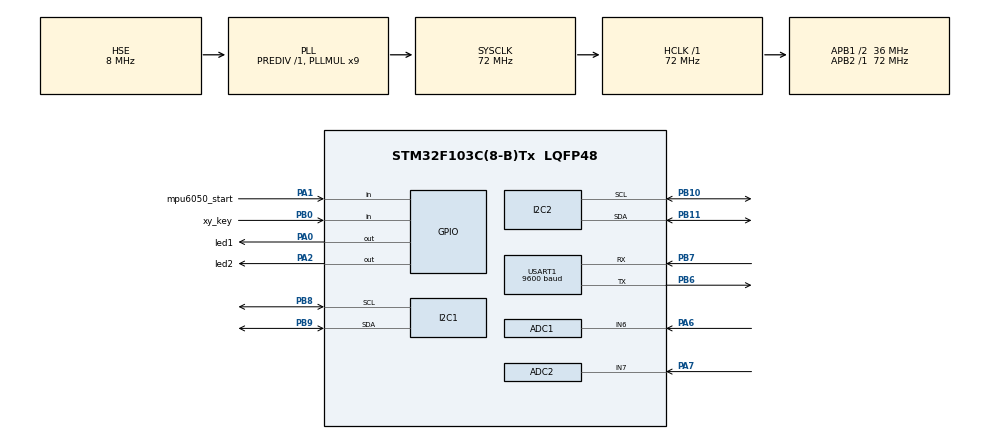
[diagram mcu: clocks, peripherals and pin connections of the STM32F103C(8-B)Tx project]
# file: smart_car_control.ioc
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ADC1.Channel-0\#ChannelRegularConversion=ADC_CHANNEL_6
ADC1.ContinuousConvMode=ENABLE
ADC1.NbrOfConversionFlag=1
ADC1.Rank-0\#ChannelRegularConversion=1
ADC1.SamplingTime-0\#ChannelRegularConversion=ADC_SAMPLETIME_1CYCLE_5
ADC1.master=1
ADC2.Channel-0\#ChannelRegularConversion=ADC_CHANNEL_7
ADC2.ContinuousConvMode=ENABLE
ADC2.NbrOfConversionFlag=1
ADC2.Rank-0\#ChannelRegularConversion=1
ADC2.SamplingTime-0\#ChannelRegularConversion=ADC_SAMPLETIME_1CYCLE_5
Mcu.Family=STM32F1
Mcu.Name=STM32F103C(8-B)Tx
Mcu.Package=LQFP48
NVIC.PriorityGroup=NVIC_PRIORITYGROUP_4
NVIC.TIM4_IRQn=true\:15\:0\:false\:false\:true\:false\:true\:true
NVIC.TimeBase=TIM4_IRQn
NVIC.TimeBaseIP=TIM4
PA0-WKUP.GPIO_Label=led1
PA0-WKUP.Signal=GPIO_Output
PA1.GPIO_Label=mpu6050_start
PA1.GPIO_PuPd=GPIO_PULLUP
PA1.Signal=GPIO_Input
PA13.Mode=Serial_Wire
PA13.Signal=SYS_JTMS-SWDIO
PA14.Mode=Serial_Wire
PA14.Signal=SYS_JTCK-SWCLK
PA2.GPIO_Label=led2
PA2.Signal=GPIO_Output
PA6.Signal=ADCx_IN6
PA7.Signal=ADCx_IN7
PB0.GPIO_Label=xy_key
PB0.GPIO_PuPd=GPIO_PULLUP
PB0.Signal=GPIO_Input
PB10.Mode=I2C
PB10.Signal=I2C2_SCL
PB11.Mode=I2C
PB11.Signal=I2C2_SDA
PB6.Mode=Asynchronous
PB6.Signal=USART1_TX
PB7.Mode=Asynchronous
PB7.Signal=USART1_RX
PB8.Mode=I2C
PB8.Signal=I2C1_SCL
PB9.Mode=I2C
PB9.Signal=I2C1_SDA
PC14-OSC32_IN.Mode=LSE-External-Oscillator
PC14-OSC32_IN.Signal=RCC_OSC32_IN
PC15-OSC32_OUT.Mode=LSE-External-Oscillator
PC15-OSC32_OUT.Signal=RCC_OSC32_OUT
PD0-OSC_IN.Mode=HSE-External-Oscillator
PD0-OSC_IN.Signal=RCC_OSC_IN
PD1-OSC_OUT.Mode=HSE-External-Oscillator
PD1-OSC_OUT.Signal=RCC_OSC_OUT
ProjectManager.HeapSize=0x200
ProjectManager.StackSize=0x400
ProjectManager.TargetToolchain=MDK-ARM V5.32
RCC.ADCPresc=RCC_ADCPCLK2_DIV6
RCC.AHBFreq_Value=72000000
RCC.APB1CLKDivider=RCC_HCLK_DIV2
RCC.APB1Freq_Value=36000000
RCC.APB1TimFreq_Value=72000000
RCC.APB2Freq_Value=72000000
RCC.APB2TimFreq_Value=72000000
RCC.HCLKFreq_Value=72000000
RCC.PLLMUL=RCC_PLL_MUL9
RCC.PLLSourceVirtual=RCC_PLLSOURCE_HSE
RCC.SYSCLKFreq_VALUE=72000000
RCC.SYSCLKSource=RCC_SYSCLKSOURCE_PLLCLK
RCC.USBFreq_Value=72000000
SH.ADCx_IN6.0=ADC1_IN6,IN6
SH.ADCx_IN7.0=ADC2_IN7,IN7
USART1.BaudRate=9600
USART1.VirtualMode=VM_ASYNC
VP_SYS_VS_tim4.Mode=TIM4
board=custom

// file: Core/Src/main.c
/* USER CODE BEGIN Header */
/**
  ******************************************************************************
  * @file           : main.c
  * @brief          : Main program body
  ******************************************************************************
  * @attention
  *
  * Copyright (c) 2025 STMicroelectronics.
  * All rights reserved.
  *
  * This software is licensed under terms that can be found in the LICENSE file
  * in the root directory of this software component.
  * If no LICENSE file comes with this software, it is provided AS-IS.
  *
  ******************************************************************************
  */
/* USER CODE END Header */
#include "main.h"
#include "adc.h"
#include "i2c.h"
#include "usart.h"
#include "gpio.h"

/* USER CODE BEGIN Includes */
#include "mpu6050.h"
#include <math.h>
#include <stdio.h>
#include "oled.h"
#include "cube.h"
/* USER CODE END Includes */

/* USER CODE BEGIN PV */
//#define M_PI 3.1415

float angle_x=0.0f;
float angle_y=0.0f;
float angle_z=0.0f;

//ADC数据采集暂存
uint16_t Xvalue_measure=0;
uint16_t Yvalue_measure=0;

MPU6050_t mpu6050_value;

//mpu6050,摇杆控制与否？
uint8_t mpu6050_state=0;
uint8_t xykey_state=1;

//mpu6050遥控角度阈值
int16_t angle_threhold=20;

//摇杆遥控角度阈值
int16_t xyposition_threhold_up=3000;//
int16_t xyposition_threhold_down=1000;

/* USER CODE END PV */

void SystemClock_Config(void);

/* USER CODE BEGIN 0 */

void process_Gyro_data(float gx, float gy, float gz) {

    float dt = 0.005f; // 采样时间，根据你的循环频率调整（例如200Hz）
    angle_x = (angle_x + gx * dt) ;
    angle_y = (angle_y - gy * dt);
    angle_z += gz * dt; // 偏航角仅积分，会漂移

}

void mpu6050_control(){
	MPU6050_Read_All(&hi2c1,&mpu6050_value);

		/*自己解析数据，已经注释掉
		G_X=mpu6050_value.Gyro_X_RAW;
		G_Y=mpu6050_value.Gyro_Y_RAW;
		G_Z=mpu6050_value.Gyro_Z_RAW;
		process_Gyro_data(G_X,G_Y,G_X);
		*/

		angle_x=mpu6050_value.KalmanAngleX;
		angle_y=mpu6050_value.KalmanAngleY;
		angle_z=mpu6050_value.Gz;

		HAL_Delay(5);

}

void OLED_output()
{

    OLED_NewFrame();
		//控制方式显示
		if(mpu6050_state)
		{
			OLED_PrintString(10,5,"mpu6050",&font16x16,OLED_COLOR_NORMAL);

			//mpu6050数据
			OLED_PrintString(70,5,"x:",&font16x16,OLED_COLOR_NORMAL);
			OLED_PrintString(70,28,"y:",&font16x16,OLED_COLOR_NORMAL);
			OLED_PrintString(70,50,"z:",&font16x16,OLED_COLOR_NORMAL);

			char x_angle_value[1]={0};
			char y_angle_value[1]={0};
			char z_angle_value[1]={0};
			sprintf(x_angle_value, "%d", (int)angle_x);
			OLED_PrintString(90,5,x_angle_value,&font16x16,OLED_COLOR_NORMAL);

			sprintf(y_angle_value, "%d", (int)angle_y);
			OLED_PrintString(90,28,y_angle_value,&font16x16,OLED_COLOR_NORMAL);

			sprintf(z_angle_value, "%d", (int)angle_z);
			OLED_PrintString(90,50,z_angle_value,&font16x16,OLED_COLOR_NORMAL);

			//////////////////////////////////////////////////////
			CubeProjection cube = GetCubeLinesDefault(angle_y, -angle_x, angle_z, 28.0f);

      for (int i = 0; i < 12; i++)
			{
				OLED_DrawLine(cube.lines[i].start.x-30, cube.lines[i].start.y+10,
                         cube.lines[i].end.x-30, cube.lines[i].end.y+10,
                         OLED_COLOR_NORMAL);
        }

		}
		else if(xykey_state)
		{
			OLED_PrintString(10,10,"hw-key",&font16x16,OLED_COLOR_NORMAL);

			//摇杆模块数据
			OLED_PrintString(10,30,"X:",&font16x16,OLED_COLOR_NORMAL);
			OLED_PrintString(10,50,"Y:",&font16x16,OLED_COLOR_NORMAL);
			char x_value[1]={0};
			char y_value[1]={0};
			sprintf(x_value, "%d", Xvalue_measure);
			OLED_PrintString(30,30,x_value,&font16x16,OLED_COLOR_NORMAL);
			sprintf(y_value, "%d", Yvalue_measure);
			OLED_PrintString(30,50,y_value,&font16x16,OLED_COLOR_NORMAL);
			OLED_DrawRectangle(70,10,50,50,OLED_COLOR_NORMAL);
			OLED_DrawFilledCircle(120-(25./2047)*Xvalue_measure,60-(25./2047)*Yvalue_measure,2,OLED_COLOR_NORMAL);

		}

		OLED_ShowFrame();

}

/* USER CODE END Header_adc_read_value */
void adc_read_value()
{

		HAL_ADC_PollForConversion(&hadc1, 100);
		Xvalue_measure=HAL_ADC_GetValue(&hadc1);

		HAL_ADC_PollForConversion(&hadc2, 100);
		Yvalue_measure=HAL_ADC_GetValue(&hadc2);
}

void send_control_data()
{
	int8_t front_message[8]={0xff,0xaa,0x02,0x01,0x01,(0x02&0x01&0x01),0xfe,0xef};
	int8_t left_message[8]={0xff,0xaa,0x02,0x01,0x04,(0x02&0x01&0x04),0xfe,0xef};
	int8_t stop_message[8]={0xff,0xaa,0x02,0x01,0x03,(0x02&0x01&0x03),0xfe,0xef};
	int8_t right_message[8]={0xff,0xaa,0x02,0x01,0x02,(0x02&0x01&0x02),0xfe,0xef};
	int8_t back_message[8]={0xff,0xaa,0x02,0x01,0x05,(0x02&0x01&0x05),0xfe,0xef};
	/*
	int8_t left_front_message[8]={0xff,0xaa,0x02,0x01,0x01,(0x02&0x01&0x01),0xfe,0xef};
	int8_t right_front_message[8]={0xff,0xaa,0x02,0x01,0x04,(0x02&0x01&0x04),0xfe,0xef};
	int8_t left_back_message[8]={0xff,0xaa,0x02,0x01,0x02,(0x02&0x01&0x02),0xfe,0xef};
	int8_t right_back_message[8]={0xff,0xaa,0x02,0x01,0x05,(0x02&0x01&0x05),0xfe,0xef};
	*/

	//使用mpu6050控制
	if(mpu6050_state)
	{
		//usart内部写的usart1，如果更改请同步改动usart.c最底部,启用重定向记得勾选microlib
		//printf("%f,%f,%f\n",angle_x,angle_y,angle_z);

		if(fabs(angle_y)>=angle_threhold && angle_y>0 && fabs(angle_x)<=angle_threhold)
			HAL_UART_Transmit(&huart1,(uint8_t *)front_message, sizeof(front_message), HAL_MAX_DELAY);

		else if(fabs(angle_x)>=angle_threhold && angle_x<0 && fabs(angle_y)<=angle_threhold)
			HAL_UART_Transmit(&huart1,(uint8_t *)left_message, sizeof(front_message), HAL_MAX_DELAY);

		else if(fabs(angle_x)>=angle_threhold && angle_x>0 && fabs(angle_y)<=angle_threhold)
			HAL_UART_Transmit(&huart1,(uint8_t *)right_message, sizeof(front_message), HAL_MAX_DELAY);

		else if(fabs(angle_y)>=angle_threhold && angle_y<0 && fabs(angle_x)<=angle_threhold)
			HAL_UART_Transmit(&huart1,(uint8_t *)back_message, sizeof(front_message), HAL_MAX_DELAY);
		/*
		//左上
		else if(fabs(angle_y)>=angle_threhold && angle_y>0 && fabs(angle_x)>=angle_threhold && angle_x<0)
			HAL_UART_Transmit(&huart1,(uint8_t *)left_front_message, sizeof(front_message), HAL_MAX_DELAY);

		//右上
		else if(fabs(angle_y)>=angle_threhold && angle_y>0 && fabs(angle_x)>=angle_threhold && angle_x>0)
			HAL_UART_Transmit(&huart1,(uint8_t *)right_front_message, sizeof(front_message), HAL_MAX_DELAY);

		//左下
		else if(fabs(angle_x)>=angle_threhold && angle_x<0 && fabs(angle_y)>=angle_threhold && angle_y<0)
			HAL_UART_Transmit(&huart1,(uint8_t *)left_back_message, sizeof(front_message), HAL_MAX_DELAY);

		//右下
		else if(fabs(angle_x)>=angle_threhold && angle_x>0 && fabs(angle_y)>=angle_threhold && angle_y<0)
			HAL_UART_Transmit(&huart1,(uint8_t *)right_back_message, sizeof(front_message), HAL_MAX_DELAY);
		*/
		else
			HAL_UART_Transmit(&huart1,(uint8_t *)stop_message, sizeof(front_message), HAL_MAX_DELAY);

		HAL_GPIO_WritePin(led1_GPIO_Port,led1_Pin,GPIO_PIN_SET);
		HAL_GPIO_WritePin(led2_GPIO_Port,led2_Pin,GPIO_PIN_RESET);
		HAL_Delay(10);
	}
	//使用摇杆模块控制
	else if(xykey_state)
	{
			//printf("%d,%d\n",Xvalue_measure,Yvalue_measure);
			if(Yvalue_measure>xyposition_threhold_up && Xvalue_measure>xyposition_threhold_down && Xvalue_measure<xyposition_threhold_up)
				HAL_UART_Transmit(&huart1,(uint8_t *)front_message, sizeof(front_message), HAL_MAX_DELAY);

			else if(Xvalue_measure>xyposition_threhold_up && Yvalue_measure>xyposition_threhold_down && Yvalue_measure<xyposition_threhold_up)
				HAL_UART_Transmit(&huart1,(uint8_t *)left_message, sizeof(front_message), HAL_MAX_DELAY);

			else if(Xvalue_measure<xyposition_threhold_down && Yvalue_measure>xyposition_threhold_down && Yvalue_measure<xyposition_threhold_up)
				HAL_UART_Transmit(&huart1,(uint8_t *)right_message, sizeof(front_message), HAL_MAX_DELAY);

			else if(Yvalue_measure<xyposition_threhold_down && Xvalue_measure>xyposition_threhold_down && Xvalue_measure<xyposition_threhold_up)
				HAL_UART_Transmit(&huart1,(uint8_t *)back_message, sizeof(front_message), HAL_MAX_DELAY);

			/*
			//左上
			else if(Yvalue_measure>xyposition_threhold_up && Xvalue_measure>xyposition_threhold_up)
				HAL_UART_Transmit(&huart1,(uint8_t *)left_front_message, sizeof(front_message), HAL_MAX_DELAY);

			//右上
			else if(Yvalue_measure>xyposition_threhold_up && Xvalue_measure<xyposition_threhold_down)
				HAL_UART_Transmit(&huart1,(uint8_t *)right_front_message, sizeof(front_message), HAL_MAX_DELAY);

			//左下
			else if(Xvalue_measure>xyposition_threhold_up && Yvalue_measure<xyposition_threhold_down)
				HAL_UART_Transmit(&huart1,(uint8_t *)left_back_message, sizeof(front_message), HAL_MAX_DELAY);

			//右下
			else if(Yvalue_measure<xyposition_threhold_down && Xvalue_measure<xyposition_threhold_d
				HAL_UART_Transmit(&huart1,(uint8_t *)right_back_message, sizeof(front_message), HAL_MAX_DELAY);

			*/
			else
				HAL_UART_Transmit(&huart1,(uint8_t *)stop_message, sizeof(front_message), HAL_MAX_DELAY);

			HAL_GPIO_WritePin(led1_GPIO_Port,led1_Pin,GPIO_PIN_RESET);
			HAL_GPIO_WritePin(led2_GPIO_Port,led2_Pin,GPIO_PIN_SET);
			HAL_Delay(10);
	}

}
/* USER CODE END 0 */

int main(void)
{

  /* MCU Configuration--------------------------------------------------------*/

  /* Reset of all peripherals, Initializes the Flash interface and the Systick. */
  HAL_Init();

  /* Configure the system clock */
  SystemClock_Config();

  /* Initialize all configured peripherals */
  MX_GPIO_Init();
  MX_I2C1_Init();
  MX_USART1_UART_Init();
  MX_I2C2_Init();
  MX_ADC1_Init();
  MX_ADC2_Init();
  /* USER CODE BEGIN 2 */

	MPU6050_Init(&hi2c1);

	float G_X=0,G_Y=0,G_Z=0;

	HAL_Delay(20);
	OLED_Init();

	HAL_ADC_Start(&hadc1);
	HAL_ADC_Start(&hadc2);

	//否则会卡死
	mpu6050_control();
  /* USER CODE END 2 */

  /* Infinite loop */
  /* USER CODE BEGIN WHILE */

  while (1)
  {
		//按下按键即可使用 mpu6050/摇杆模块  遥控小车
		mpu6050_control();
		adc_read_value();

		if(HAL_GPIO_ReadPin(mpu6050_start_GPIO_Port,mpu6050_start_Pin)==GPIO_PIN_RESET)
		{
			HAL_Delay(10);
			while(HAL_GPIO_ReadPin(mpu6050_start_GPIO_Port,mpu6050_start_Pin)==GPIO_PIN_RESET);
			mpu6050_state=~mpu6050_state;
			xykey_state=~mpu6050_state;
		}
		send_control_data();

		//oled显示
		OLED_output();

    /* USER CODE END WHILE */

  }
}

void SystemClock_Config(void)
{
  RCC_OscInitTypeDef RCC_OscInitStruct = {0};
  RCC_ClkInitTypeDef RCC_ClkInitStruct = {0};
  RCC_PeriphCLKInitTypeDef PeriphClkInit = {0};

  /** Initializes the RCC Oscillators according to the specified parameters
  * in the RCC_OscInitTypeDef structure.
  */
  RCC_OscInitStruct.OscillatorType = RCC_OSCILLATORTYPE_HSE;
  RCC_OscInitStruct.HSEState = RCC_HSE_ON;
  RCC_OscInitStruct.HSEPredivValue = RCC_HSE_PREDIV_DIV1;
  RCC_OscInitStruct.HSIState = RCC_HSI_ON;
  RCC_OscInitStruct.PLL.PLLState = RCC_PLL_ON;
  RCC_OscInitStruct.PLL.PLLSource = RCC_PLLSOURCE_HSE;
  RCC_OscInitStruct.PLL.PLLMUL = RCC_PLL_MUL9;
  if (HAL_RCC_OscConfig(&RCC_OscInitStruct) != HAL_OK)
  {
    Error_Handler();
  }

  /** Initializes the CPU, AHB and APB buses clocks
  */
  RCC_ClkInitStruct.ClockType = RCC_CLOCKTYPE_HCLK|RCC_CLOCKTYPE_SYSCLK
                              |RCC_CLOCKTYPE_PCLK1|RCC_CLOCKTYPE_PCLK2;
  RCC_ClkInitStruct.SYSCLKSource = RCC_SYSCLKSOURCE_PLLCLK;
  RCC_ClkInitStruct.AHBCLKDivider = RCC_SYSCLK_DIV1;
  RCC_ClkInitStruct.APB1CLKDivider = RCC_HCLK_DIV2;
  RCC_ClkInitStruct.APB2CLKDivider = RCC_HCLK_DIV1;

  if (HAL_RCC_ClockConfig(&RCC_ClkInitStruct, FLASH_LATENCY_2) != HAL_OK)
  {
    Error_Handler();
  }
  PeriphClkInit.PeriphClockSelection = RCC_PERIPHCLK_ADC;
  PeriphClkInit.AdcClockSelection = RCC_ADCPCLK2_DIV6;
  if (HAL_RCCEx_PeriphCLKConfig(&PeriphClkInit) != HAL_OK)
  {
    Error_Handler();
  }
}

void HAL_TIM_PeriodElapsedCallback(TIM_HandleTypeDef *htim)
{
  if (htim->Instance == TIM4) {
    HAL_IncTick();
  }
}

void Error_Handler(void)
{
  __disable_irq();
  while (1)
  {
  }
}
